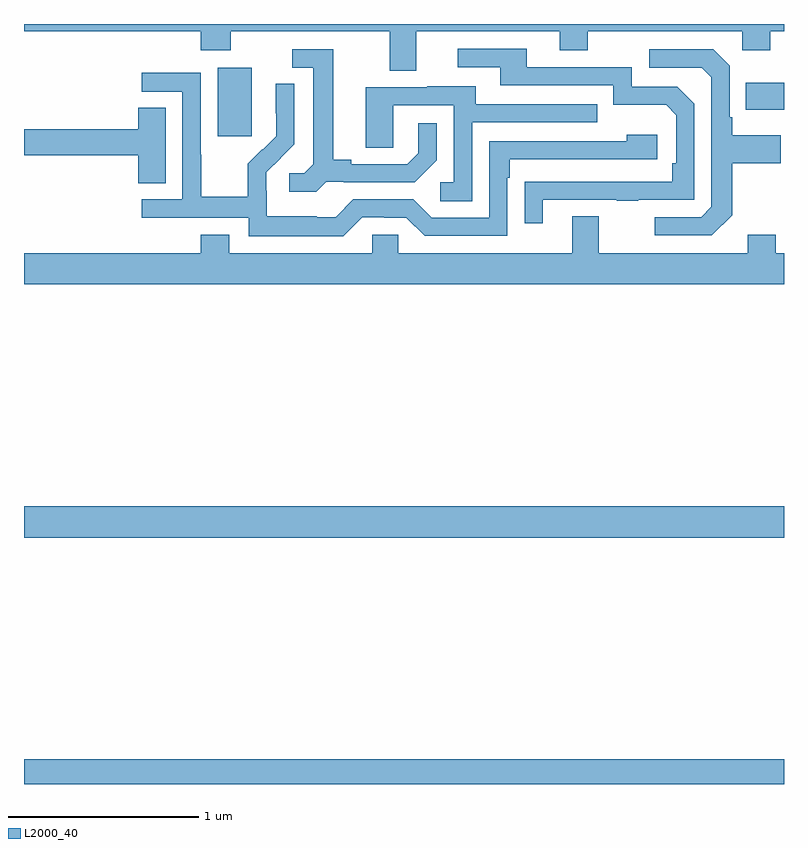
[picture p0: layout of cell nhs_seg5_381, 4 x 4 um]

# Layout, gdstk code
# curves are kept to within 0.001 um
import gdstk
lib = gdstk.Library(unit=1e-6, precision=1e-09)
def R(c, l, rs):  # rectangles x0, y0, x1, y1
    for r in rs: c.add(gdstk.rectangle(r[:2], r[2:], *l))
def P(c, l, *ps):  # polygons
    for p in ps: c.add(gdstk.Polygon(p, *l))
L2000_40 = (2000, 40)

nhs_seg5_381 = lib.new_cell('nhs_seg5_381')
R(nhs_seg5_381, L2000_40, [(135,852.799,139,852.928), (135,854.096,139,854.26), (136.019,856.209,136.198,856.57), (138.799,856.349,139,856.489)])
P(nhs_seg5_381, L2000_40, [(137.065,856.76),(137.819,856.76),(137.819,856.661),(137.967,856.661),(137.967,856.76),(138.78,856.76),(138.78,856.661),(138.927,856.661),(138.927,856.76),(139,856.76),(139,856.799),(135,856.799),(135,856.76),(135.929,856.76),(135.929,856.661),(136.089,856.661),(136.089,856.76),(136.925,856.76),(136.925,856.552),(137.065,856.552)],
  [(137.731,855.873),(138.121,855.873),(138.121,855.868),(138.233,855.868),(138.233,855.873),(138.528,855.873),(138.528,856.38),(138.438,856.47),(138.198,856.47),(138.198,856.572),(137.647,856.572),(137.647,856.668),(137.283,856.668),(137.283,856.572),(137.507,856.572),(137.507,856.476),(138.102,856.476),(138.102,856.373),(138.379,856.373),(138.432,856.32),(138.432,856.066),(138.412,856.066),(138.412,855.969),(137.635,855.968),(137.635,855.75),(137.731,855.75)],
  [(138.727,855.793),(138.727,856.066),(138.983,856.066),(138.983,856.213),(138.727,856.213),(138.727,856.309),(138.714,856.309),(138.714,856.578),(138.627,856.665),(138.291,856.665),(138.291,856.569),(138.567,856.569),(138.618,856.518),(138.618,855.837),(138.564,855.783),(138.321,855.783),(138.321,855.687),(138.621,855.687)],
  [(136.59,855.969),(136.684,855.969),(136.684,855.966),(137.056,855.966),(137.172,856.082),(137.172,856.276),(137.075,856.276),(137.075,856.119),(137.018,856.062),(136.723,856.062),(136.723,856.085),(136.627,856.085),(136.627,856.665),(136.413,856.665),(136.413,856.569),(136.523,856.569),(136.523,856.061),(136.476,856.014),(136.395,856.014),(136.395,855.917),(136.538,855.917)],
  [(136.779,855.783),(136.895,855.783),(136.895,855.78),(137.013,855.78),(137.109,855.684),(137.544,855.684),(137.544,855.989),(137.557,855.989),(137.557,856.086),(138.334,856.086),(138.334,856.216),(138.173,856.216),(138.173,856.182),(137.448,856.182),(137.448,855.78),(137.145,855.78),(137.049,855.876),(136.734,855.876),(136.641,855.783),(136.541,855.783),(136.541,855.787),(136.278,855.787),(136.278,855.921),(136.276,855.921),(136.276,856.018),(136.422,856.166),(136.422,856.484),(136.326,856.484),(136.326,856.33),(136.328,856.33),(136.328,856.208),(136.257,856.137),(136.254,856.14),(136.177,856.063),(136.177,855.889),(135.933,855.889),(135.933,856.112),(135.93,856.112),(135.93,856.542),(135.621,856.542),(135.621,856.443),(135.834,856.443),(135.834,855.876),(135.621,855.876),(135.621,855.78),(136.182,855.78),(136.182,855.683),(136.679,855.683)],
  [(137.358,856.281),(138.017,856.281),(138.017,856.377),(137.377,856.377),(137.377,856.471),(137.123,856.471),(137.123,856.467),(136.799,856.467),(136.799,856.147),(136.944,856.147),(136.944,856.371),(137.262,856.371),(137.262,855.966),(137.19,855.966),(137.19,855.865),(137.358,855.865)],
  [(135.745,856.358),(135.602,856.358),(135.602,856.244),(135,856.244),(135,856.108),(135.602,856.108),(135.602,855.961),(135.745,855.961)],
  [(139,855.592),(138.957,855.592),(138.957,855.691),(138.809,855.691),(138.809,855.592),(138.025,855.592),(138.025,855.787),(137.885,855.787),(137.885,855.592),(136.971,855.592),(136.971,855.69),(136.833,855.69),(136.833,855.592),(136.081,855.592),(136.081,855.691),(135.929,855.691),(135.929,855.592),(135,855.592),(135,855.428),(139,855.428)])

lib.write_gds('nhs_seg5_381.gds')
